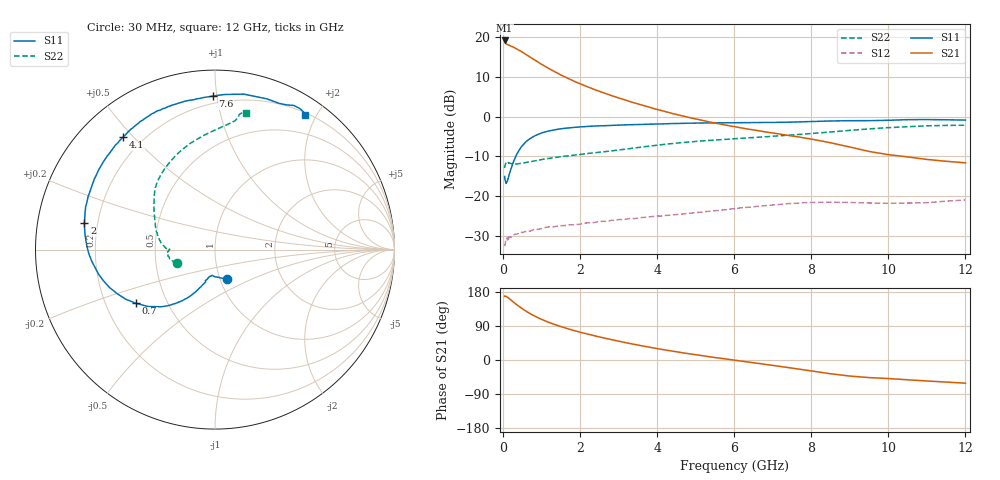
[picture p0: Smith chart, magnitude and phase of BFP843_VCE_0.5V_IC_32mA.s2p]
! Infineon Technologies  Discrete & RF Semiconductors
! BFP843
! VCE =  0.5 V,  IC =  32 mA
! Common Emitter S-Parameters:  Aug 2013
# GHz  S  MA  R  50
!  f  S11  S21  S12  S22
! GHz  MAG  ANG  MAG  ANG  MAG  ANG  MAG  ANG
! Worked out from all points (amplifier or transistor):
!   103 points, 30 MHz to 12 GHz, reference 50 ohm
!   highest |S21| = 19.2 dB at 30 MHz (marker M1)
!   |S21| within 3 dB of that: start of sweep to 500.8 MHz
!   unconditionally stable (mu >= 1): start of sweep to end of sweep
!   at 400 MHz: K = 1.86, MAG = 17.7 dB, |S12| = -29.4 dB
!   at 3.7 GHz: K = 2.28, MAG = 7.6 dB, |S12| = -25.3 dB
!   at 12 GHz: K = 2.07, MAG = -1.2 dB, |S12| = -21.0 dB
!   S11 on the Smith chart (normalised r, x): 30 MHz: 1.08, -0.36; 700 MHz: 0.33, -0.28; 2 GHz: 0.15, +0.10; 4.1 GHz: 0.13, +0.47; 7.6 GHz: 0.15, +0.97; 12 GHz: 0.23, +1.86
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0.03  0.1765 -68.0  9.086 168.2  0.0234 33.2  0.2251 -160.7
0.04  0.1607 -79.0  8.72 167.8  0.0244 25.8  0.2437 -164.6
0.05  0.1546 -83.5  8.534 168.7  0.0254 27.4  0.2512 -167.5
0.07  0.1442 -96.3  8.217 167.8  0.0288 17.6  0.26 -171.3
0.25  0.2615 -114.9  7.532 153.5  0.0319 13.2  0.2548 179.8
0.4  0.3725 -126.3  6.844 141.8  0.034 11.1  0.2556 179.8
0.5  0.4369 -133.2  6.436 134.6  0.0348 13.8  0.2594 179.7
0.7  0.5322 -145.8  5.576 121.9  0.0363 13.1  0.271 178.7
0.9  0.598 -155.8  4.852 111.4  0.0381 12.8  0.2826 176.5
1.2  0.6633 -168.1  3.977 98.5  0.041 13.5  0.2987 173.6
1.4  0.691 -174.9  3.531 91.3  0.0418 13.9  0.3082 171.3
1.6  0.7129 178.9  3.16 84.8  0.0426 13.8  0.3177 169.0
2  0.7425 168.6  2.577 73.1  0.0442 13.5  0.3343 164.2
2.1  0.747 166.2  2.465 70.6  0.0457 14.7  0.3394 163.3
3  0.781 147.8  1.711 49.5  0.0506 13.5  0.3803 152.1
4.1  0.8091 129.3  1.195 28.3  0.056 11.3  0.4427 140.0
4.9  0.8262 119.2  0.955 15.4  0.0611 10.2  0.4825 133.0
6.1  0.8383 107.7  0.732 -1.8  0.0705 5.9  0.5306 121.9
7.6  0.8554 90.8  0.562 -22.9  0.0811 -4.8  0.5923 106.7
8.5  0.881 79.5  0.468 -36.3  0.0838 -13.3  0.6405 95.4
10.5  0.9156 61.3  0.311 -52.2  0.0817 -22.1  0.7461 80.1
12  0.9038 56.1  0.262 -61.2  0.0893 -28.1  0.7792 77.0
